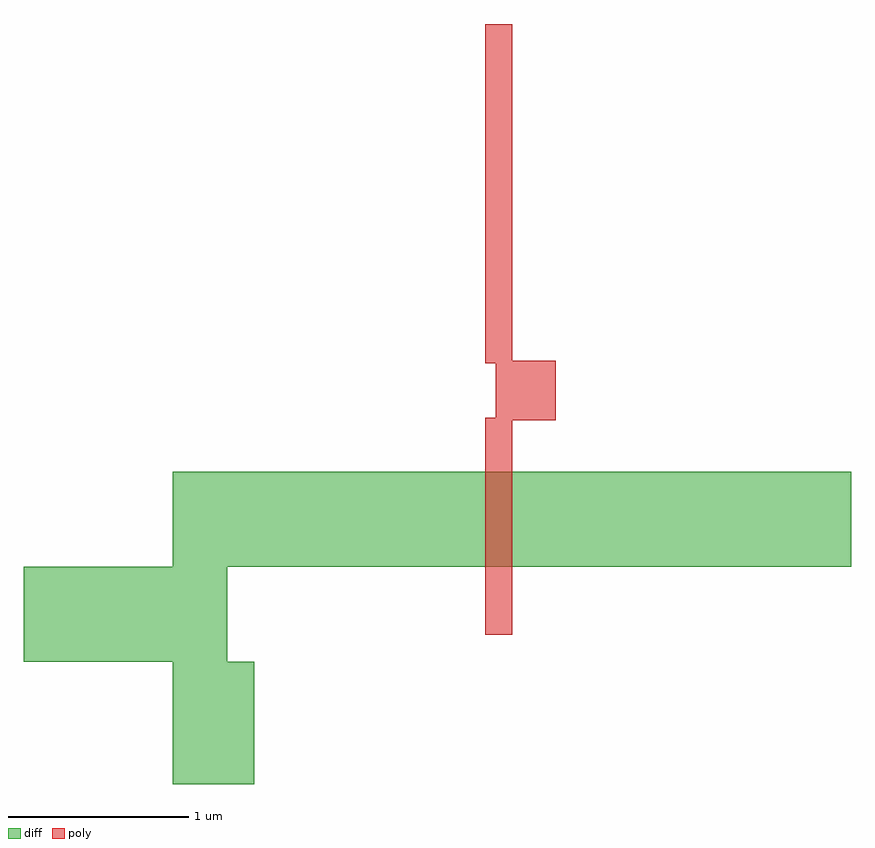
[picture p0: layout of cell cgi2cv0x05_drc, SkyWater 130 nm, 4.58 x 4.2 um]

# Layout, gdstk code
import gdstk
lib = gdstk.Library(unit=1e-6, precision=5e-09)
def R(c, l, rs):  # rectangles x0, y0, x1, y1
    for r in rs: c.add(gdstk.rectangle(r[:2], r[2:], *l))
diff = (65, 20)
poly = (66, 20)

cgi2cv0x05_drc = lib.new_cell('cgi2cv0x05_drc')
R(cgi2cv0x05_drc, diff, [(0.975,0.225,1.425,0.9), (0.975,0.225,1.425,0.9), (0.15,0.9,1.275,1.425), (0.15,0.9,1.275,1.425), (0.15,0.9,1.275,1.425), (0.15,0.9,1.275,1.425), (0.975,1.425,4.725,1.95), (0.975,1.425,4.725,1.95)])
R(cgi2cv0x05_drc, poly, [(2.7,1.05,2.85,2.25), (2.7,1.05,2.85,2.25), (2.76,2.235,3.09,2.565), (2.76,2.235,3.09,2.565), (2.76,2.235,3.09,2.565), (2.76,2.235,3.09,2.565), (2.7,2.55,2.85,4.425), (2.7,2.55,2.85,4.425)])

lib.write_gds('cgi2cv0x05_drc.gds')
